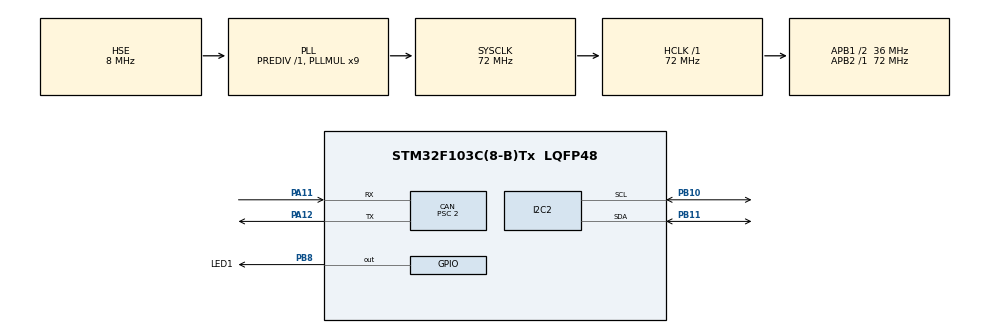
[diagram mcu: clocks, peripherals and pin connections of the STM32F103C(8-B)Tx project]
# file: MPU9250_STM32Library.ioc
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CAN.BS1=CAN_BS1_16TQ
CAN.BS2=CAN_BS2_1TQ
CAN.CalculateBaudRate=1000000
CAN.CalculateTimeBit=1000
CAN.CalculateTimeQuantum=55.55555555555556
CAN.Prescaler=2
Mcu.Family=STM32F1
Mcu.Name=STM32F103C(8-B)Tx
Mcu.Package=LQFP48
NVIC.PriorityGroup=NVIC_PRIORITYGROUP_4
PA11.Mode=CAN_Activate
PA11.Signal=CAN_RX
PA12.Mode=CAN_Activate
PA12.Signal=CAN_TX
PA13.Mode=Serial_Wire
PA13.Signal=SYS_JTMS-SWDIO
PA14.Mode=Serial_Wire
PA14.Signal=SYS_JTCK-SWCLK
PB10.Mode=I2C
PB10.Signal=I2C2_SCL
PB11.Mode=I2C
PB11.Signal=I2C2_SDA
PB8.GPIO_Label=LED1
PB8.Signal=GPIO_Output
PD0-OSC_IN.Mode=HSE-External-Oscillator
PD0-OSC_IN.Signal=RCC_OSC_IN
PD1-OSC_OUT.Mode=HSE-External-Oscillator
PD1-OSC_OUT.Signal=RCC_OSC_OUT
ProjectManager.HeapSize=0x200
ProjectManager.StackSize=0x400
ProjectManager.TargetToolchain=STM32CubeIDE
RCC.AHBFreq_Value=72000000
RCC.APB1CLKDivider=RCC_HCLK_DIV2
RCC.APB1Freq_Value=36000000
RCC.APB1TimFreq_Value=72000000
RCC.APB2Freq_Value=72000000
RCC.APB2TimFreq_Value=72000000
RCC.HCLKFreq_Value=72000000
RCC.PLLMUL=RCC_PLL_MUL9
RCC.PLLSourceVirtual=RCC_PLLSOURCE_HSE
RCC.SYSCLKFreq_VALUE=72000000
RCC.SYSCLKSource=RCC_SYSCLKSOURCE_PLLCLK
RCC.USBFreq_Value=72000000
board=custom

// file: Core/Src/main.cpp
/* USER CODE BEGIN Header */
/**
  ******************************************************************************
  * @file           : main.c
  * @brief          : Main program body
  ******************************************************************************
  * @attention
  *
  * <h2><center>&copy; Copyright (c) 2022 STMicroelectronics.
  * All rights reserved.</center></h2>
  *
  * This software component is licensed by ST under BSD 3-Clause license,
  * the "License"; You may not use this file except in compliance with the
  * License. You may obtain a copy of the License at:
  *                        opensource.org/licenses/BSD-3-Clause
  *
  ******************************************************************************
  */
/* USER CODE END Header */
#include "main.h"

/* USER CODE BEGIN Includes */
#include "MPU9250/MPU9250-DMP.h"
/* USER CODE END Includes */

CAN_HandleTypeDef hcan;

I2C_HandleTypeDef hi2c2;

/* USER CODE BEGIN PV */
CAN_TxHeaderTypeDef   TxHeader;
uint32_t              TxMailbox;

uint8_t IMUdata[8];
unsigned long long time;
double q0, q1, q2, q3;
float roll, pitch, yaw;
float ax, ay, az;
float gx, gy, gz;
float mx, my, mz;
/* USER CODE END PV */

void SystemClock_Config(void);
static void MX_GPIO_Init(void);
static void MX_CAN_Init(void);
static void MX_I2C2_Init(void);

int main(void)
{

  /* MCU Configuration--------------------------------------------------------*/

  /* Reset of all peripherals, Initializes the Flash interface and the Systick. */
  HAL_Init();

  /* Configure the system clock */
  SystemClock_Config();

  /* Initialize all configured peripherals */
  MX_GPIO_Init();
  MX_CAN_Init();
  MX_I2C2_Init();
  /* USER CODE BEGIN 2 */
  TxHeader.IDE = CAN_ID_STD;
  TxHeader.StdId = 0x69;
  TxHeader.RTR = CAN_RTR_DATA;
  TxHeader.DLC = 8 ;

  CAN_FilterTypeDef canfilterconfig;
  canfilterconfig.FilterActivation = CAN_FILTER_ENABLE;
  canfilterconfig.FilterBank = 18;  // which filter bank to use from the assigned ones
  canfilterconfig.FilterFIFOAssignment = CAN_FILTER_FIFO0;
  canfilterconfig.FilterIdHigh = 0x446<<5;
  canfilterconfig.FilterIdLow = 0;
  canfilterconfig.FilterMaskIdHigh = 0x446<<5;
  canfilterconfig.FilterMaskIdLow = 0x0000;
  canfilterconfig.FilterMode = CAN_FILTERMODE_IDMASK;
  canfilterconfig.FilterScale = CAN_FILTERSCALE_32BIT;
  canfilterconfig.SlaveStartFilterBank = 20;  // how many filters to assign to the CAN1 (master can)
  HAL_CAN_ConfigFilter(&hcan, &canfilterconfig);

  HAL_CAN_Start(&hcan);
  HAL_CAN_ActivateNotification(&hcan,CAN_IT_RX_FIFO0_MSG_PENDING);

  HAL_GPIO_WritePin(GPIOB, GPIO_PIN_8, GPIO_PIN_SET);
  HAL_Delay(250);
  HAL_GPIO_WritePin(GPIOB, GPIO_PIN_8, GPIO_PIN_RESET);

  MPU9250_DMP imu;
  while (imu.begin() != INV_SUCCESS){
    HAL_Delay(5000);
  }
  imu.setSensors(INV_XYZ_GYRO | INV_XYZ_ACCEL | INV_XYZ_COMPASS);
  imu.setGyroFSR(2000);
  imu.setAccelFSR(2);
  imu.setLPF(5);
  imu.setSampleRate(1000);
  imu.setCompassSampleRate(100);

  HAL_GPIO_WritePin(GPIOB, GPIO_PIN_8, GPIO_PIN_SET);
  HAL_Delay(250);
  HAL_GPIO_WritePin(GPIOB, GPIO_PIN_8, GPIO_PIN_RESET);
  HAL_Delay(250);

  // Initialize the digital motion processor
  imu.dmpBegin(DMP_FEATURE_SEND_RAW_ACCEL | // Send accelerometer data
               DMP_FEATURE_GYRO_CAL       | // Calibrate the gyro data
               DMP_FEATURE_SEND_CAL_GYRO  | // Send calibrated gyro data
               DMP_FEATURE_6X_LP_QUAT     , // Calculate quat's with accel/gyro
               200);

  HAL_GPIO_WritePin(GPIOB, GPIO_PIN_8, GPIO_PIN_SET);
  /* USER CODE END 2 */

  /* Infinite loop */
  /* USER CODE BEGIN WHILE */
  long long tmp = 0;
  while (1)
  {
	  if (imu.fifoAvailable()){
	    if (imu.dmpUpdateFifo() == INV_SUCCESS){
		  imu.update(UPDATE_ACCEL | UPDATE_GYRO | UPDATE_COMPASS);

		  ax = imu.calcAccel(imu.ax);
		  ay = imu.calcAccel(imu.ay);
		  az = imu.calcAccel(imu.az);

		  gx = imu.calcGyro(imu.gx);
		  gy = imu.calcGyro(imu.gy);
		  gz = imu.calcGyro(imu.gz);

		  mx = imu.calcMag(imu.mx);
		  my = imu.calcMag(imu.my);
		  mz = imu.calcMag(imu.mz);

	      imu.computeEulerAngles();

	      q0 = imu.calcQuat(imu.qw);
	      q1 = imu.calcQuat(imu.qx);
	      q2 = imu.calcQuat(imu.qy);
	      q3 = imu.calcQuat(imu.qz);
	      float q2sqr = q2 * q2;

	      // Roll
          float t0 = +2.0 * (q0 * q1 + q2 * q3);
          float t1 = +1.0 - 2.0 * (q1 * q1 + q2sqr);
          roll = atan2(t0, t1) * 180.0 / M_PI;

          // Pitch
          float t2 = +2.0 * (q0 * q2 - q3 * q1);
          t2 = (t2 > 1.0) ? 1.0 : t2;
          t2 = (t2 < -1.0) ? -1.0 : t2;
          pitch = asin(t2) * 180.0 / M_PI;

          // Yaw
          float t3 = +2.0 * (q0 * q3 + q1 * q2);
          float t4 = +1.0 - 2.0 * (q2sqr + q3 * q3);
          yaw = atan2(t3, t4) * 180.0 / M_PI;
	    }
	  }
    /* USER CODE END WHILE */

  }
}

void SystemClock_Config(void)
{
  RCC_OscInitTypeDef RCC_OscInitStruct = {0};
  RCC_ClkInitTypeDef RCC_ClkInitStruct = {0};

  /** Initializes the RCC Oscillators according to the specified parameters
  * in the RCC_OscInitTypeDef structure.
  */
  RCC_OscInitStruct.OscillatorType = RCC_OSCILLATORTYPE_HSE;
  RCC_OscInitStruct.HSEState = RCC_HSE_ON;
  RCC_OscInitStruct.HSEPredivValue = RCC_HSE_PREDIV_DIV1;
  RCC_OscInitStruct.HSIState = RCC_HSI_ON;
  RCC_OscInitStruct.PLL.PLLState = RCC_PLL_ON;
  RCC_OscInitStruct.PLL.PLLSource = RCC_PLLSOURCE_HSE;
  RCC_OscInitStruct.PLL.PLLMUL = RCC_PLL_MUL9;
  if (HAL_RCC_OscConfig(&RCC_OscInitStruct) != HAL_OK)
  {
    Error_Handler();
  }
  /** Initializes the CPU, AHB and APB buses clocks
  */
  RCC_ClkInitStruct.ClockType = RCC_CLOCKTYPE_HCLK|RCC_CLOCKTYPE_SYSCLK
                              |RCC_CLOCKTYPE_PCLK1|RCC_CLOCKTYPE_PCLK2;
  RCC_ClkInitStruct.SYSCLKSource = RCC_SYSCLKSOURCE_PLLCLK;
  RCC_ClkInitStruct.AHBCLKDivider = RCC_SYSCLK_DIV1;
  RCC_ClkInitStruct.APB1CLKDivider = RCC_HCLK_DIV2;
  RCC_ClkInitStruct.APB2CLKDivider = RCC_HCLK_DIV1;

  if (HAL_RCC_ClockConfig(&RCC_ClkInitStruct, FLASH_LATENCY_2) != HAL_OK)
  {
    Error_Handler();
  }
}

static void MX_CAN_Init(void)
{

  hcan.Instance = CAN1;
  hcan.Init.Prescaler = 2;
  hcan.Init.Mode = CAN_MODE_NORMAL;
  hcan.Init.SyncJumpWidth = CAN_SJW_1TQ;
  hcan.Init.TimeSeg1 = CAN_BS1_16TQ;
  hcan.Init.TimeSeg2 = CAN_BS2_1TQ;
  hcan.Init.TimeTriggeredMode = DISABLE;
  hcan.Init.AutoBusOff = DISABLE;
  hcan.Init.AutoWakeUp = DISABLE;
  hcan.Init.AutoRetransmission = DISABLE;
  hcan.Init.ReceiveFifoLocked = DISABLE;
  hcan.Init.TransmitFifoPriority = DISABLE;
  if (HAL_CAN_Init(&hcan) != HAL_OK)
  {
    Error_Handler();
  }

}

static void MX_I2C2_Init(void)
{

  hi2c2.Instance = I2C2;
  hi2c2.Init.ClockSpeed = 100000;
  hi2c2.Init.DutyCycle = I2C_DUTYCYCLE_2;
  hi2c2.Init.OwnAddress1 = 0;
  hi2c2.Init.AddressingMode = I2C_ADDRESSINGMODE_7BIT;
  hi2c2.Init.DualAddressMode = I2C_DUALADDRESS_DISABLE;
  hi2c2.Init.OwnAddress2 = 0;
  hi2c2.Init.GeneralCallMode = I2C_GENERALCALL_DISABLE;
  hi2c2.Init.NoStretchMode = I2C_NOSTRETCH_DISABLE;
  if (HAL_I2C_Init(&hi2c2) != HAL_OK)
  {
    Error_Handler();
  }

}

static void MX_GPIO_Init(void)
{
  GPIO_InitTypeDef GPIO_InitStruct = {0};

  /* GPIO Ports Clock Enable */
  __HAL_RCC_GPIOD_CLK_ENABLE();
  __HAL_RCC_GPIOB_CLK_ENABLE();
  __HAL_RCC_GPIOA_CLK_ENABLE();

  /*Configure GPIO pin Output Level */
  HAL_GPIO_WritePin(LED1_GPIO_Port, LED1_Pin, GPIO_PIN_RESET);

  /*Configure GPIO pin : LED1_Pin */
  GPIO_InitStruct.Pin = LED1_Pin;
  GPIO_InitStruct.Mode = GPIO_MODE_OUTPUT_PP;
  GPIO_InitStruct.Pull = GPIO_NOPULL;
  GPIO_InitStruct.Speed = GPIO_SPEED_FREQ_LOW;
  HAL_GPIO_Init(LED1_GPIO_Port, &GPIO_InitStruct);

}

/* USER CODE BEGIN 4 */
HAL_StatusTypeDef I2C_write(uint8_t slave_addr, uint8_t reg_addr,
    uint8_t length, uint8_t *data) {
  return HAL_I2C_Mem_Write(&hi2c2, slave_addr << 1, reg_addr,
  I2C_MEMADD_SIZE_8BIT, data, length, 10);
}

HAL_StatusTypeDef I2C_read(uint8_t slave_addr, uint8_t reg_addr, uint8_t length,
    uint8_t *data) {
  return HAL_I2C_Mem_Read(&hi2c2, slave_addr << 1, reg_addr,
  I2C_MEMADD_SIZE_8BIT, data, length, 10);
}
/* USER CODE END 4 */

void Error_Handler(void)
{
  __disable_irq();
  while (1)
  {
  }
}

/************************ (C) COPYRIGHT STMicroelectronics *****END OF FILE****/
